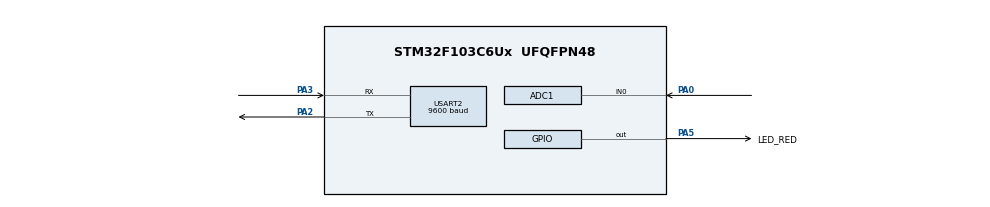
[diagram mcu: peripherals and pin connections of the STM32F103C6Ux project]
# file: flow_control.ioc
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ADC1.Channel-1\#ChannelRegularConversion=ADC_CHANNEL_0
ADC1.ContinuousConvMode=ENABLE
ADC1.NbrOfConversionFlag=1
ADC1.Rank-1\#ChannelRegularConversion=1
ADC1.SamplingTime-1\#ChannelRegularConversion=ADC_SAMPLETIME_1CYCLE_5
ADC1.master=1
Mcu.Family=STM32F1
Mcu.Name=STM32F103C6Ux
Mcu.Package=UFQFPN48
NVIC.PriorityGroup=NVIC_PRIORITYGROUP_4
NVIC.TIM2_IRQn=true\:0\:0\:false\:false\:true\:true\:true
NVIC.USART2_IRQn=true\:0\:0\:false\:false\:true\:true\:true
PA0-WKUP.Signal=ADCx_IN0
PA2.Mode=Asynchronous
PA2.Signal=USART2_TX
PA3.Mode=Asynchronous
PA3.Signal=USART2_RX
PA5.GPIO_Label=LED_RED
PA5.Signal=GPIO_Output
ProjectManager.HeapSize=0x200
ProjectManager.StackSize=0x400
ProjectManager.TargetToolchain=STM32CubeIDE
RCC.APB1Freq_Value=8000000
RCC.APB2Freq_Value=8000000
SH.ADCx_IN0.0=ADC1_IN0,IN0
TIM2.Period=9
TIM2.Prescaler=799
USART2.BaudRate=9600
USART2.VirtualMode=VM_ASYNC
VP_SYS_VS_ND.Mode=No_Debug
VP_TIM2_VS_ClockSourceINT.Mode=Internal
board=custom

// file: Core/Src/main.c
/* USER CODE BEGIN Header */
/**
  ******************************************************************************
  * @file           : main.c
  * @brief          : Main program body
  ******************************************************************************
  * @attention
  *
  * <h2><center>&copy; Copyright (c) 2025 STMicroelectronics.
  * All rights reserved.</center></h2>
  *
  * This software component is licensed by ST under BSD 3-Clause license,
  * the "License"; You may not use this file except in compliance with the
  * License. You may obtain a copy of the License at:
  *                        opensource.org/licenses/BSD-3-Clause
  *
  ******************************************************************************
  */
/* USER CODE END Header */
#include "main.h"

/* USER CODE BEGIN Includes */
#include "global.h"
#include "scheduler.h"
/* USER CODE END Includes */

ADC_HandleTypeDef hadc1;

TIM_HandleTypeDef htim2;

UART_HandleTypeDef huart2;

void SystemClock_Config(void);
static void MX_GPIO_Init(void);
static void MX_TIM2_Init(void);
static void MX_ADC1_Init(void);
static void MX_USART2_UART_Init(void);
/* USER CODE BEGIN PFP */
void blinkLED(){
	HAL_GPIO_TogglePin(LED_RED_GPIO_Port, LED_RED_Pin);

}
/* USER CODE END PFP */

/* USER CODE BEGIN 0 */
void HAL_UART_RxCpltCallback(UART_HandleTypeDef *huart) {
  if (huart->Instance == USART2) {
//      buffer[index_buffer] = temp;
//      index_buffer = (index_buffer + 1) % MAX_BUFFER_SIZE;
      buffer_flag = 1;
      HAL_UART_Receive_IT(&huart2, &temp, 1);
  }
}
/* USER CODE END 0 */

int main(void)
{

  /* MCU Configuration--------------------------------------------------------*/

  /* Reset of all peripherals, Initializes the Flash interface and the Systick. */
  HAL_Init();

  /* Configure the system clock */
  SystemClock_Config();

  /* Initialize all configured peripherals */
  MX_GPIO_Init();
  MX_TIM2_Init();
  MX_ADC1_Init();
  MX_USART2_UART_Init();
  /* USER CODE BEGIN 2 */
  HAL_TIM_Base_Start_IT(&htim2);
  SCH_Init();
  HAL_UART_Receive_IT(&huart2, &temp, 1); // Bắt đầu nghe UART
  HAL_ADC_Start(&hadc1);
//  HAL_UART_Transmit(&huart2, (uint8_t*)"HELLO\r\n", 7, 1000);
  /* USER CODE END 2 */

  /* Infinite loop */
  /* USER CODE BEGIN WHILE */
  SCH_Add_Task(timerRun, 0, 1);
  SCH_Add_Task(blinkLED, 0 , 50);
//  SCH_Add_Task(command_parser_fsm, 0 , 10);
//  SCH_Add_Task(uart_communication_fsm, 0 , 10);

  while (1)
  {
	  SCH_Dispatch_Tasks();
	  if (buffer_flag == 1){
		  command_parser_fsm();
		  buffer_flag = 0;
	  }
	  uart_communication_fsm();
//	  updateCounter();
//	  fsm_run();
//	  if (isExpired(4)){
//		  HAL_GPIO_TogglePin(BLINK_LED_GPIO_Port, BLINK_LED_Pin);
//		  setTimer(4, 50);
//	  }
    /* USER CODE END WHILE */

  }
}

void SystemClock_Config(void)
{
  RCC_OscInitTypeDef RCC_OscInitStruct = {0};
  RCC_ClkInitTypeDef RCC_ClkInitStruct = {0};
  RCC_PeriphCLKInitTypeDef PeriphClkInit = {0};

  /** Initializes the RCC Oscillators according to the specified parameters
  * in the RCC_OscInitTypeDef structure.
  */
  RCC_OscInitStruct.OscillatorType = RCC_OSCILLATORTYPE_HSI;
  RCC_OscInitStruct.HSIState = RCC_HSI_ON;
  RCC_OscInitStruct.HSICalibrationValue = RCC_HSICALIBRATION_DEFAULT;
  RCC_OscInitStruct.PLL.PLLState = RCC_PLL_NONE;
  if (HAL_RCC_OscConfig(&RCC_OscInitStruct) != HAL_OK)
  {
    Error_Handler();
  }
  /** Initializes the CPU, AHB and APB buses clocks
  */
  RCC_ClkInitStruct.ClockType = RCC_CLOCKTYPE_HCLK|RCC_CLOCKTYPE_SYSCLK
                              |RCC_CLOCKTYPE_PCLK1|RCC_CLOCKTYPE_PCLK2;
  RCC_ClkInitStruct.SYSCLKSource = RCC_SYSCLKSOURCE_HSI;
  RCC_ClkInitStruct.AHBCLKDivider = RCC_SYSCLK_DIV1;
  RCC_ClkInitStruct.APB1CLKDivider = RCC_HCLK_DIV1;
  RCC_ClkInitStruct.APB2CLKDivider = RCC_HCLK_DIV1;

  if (HAL_RCC_ClockConfig(&RCC_ClkInitStruct, FLASH_LATENCY_0) != HAL_OK)
  {
    Error_Handler();
  }
  PeriphClkInit.PeriphClockSelection = RCC_PERIPHCLK_ADC;
  PeriphClkInit.AdcClockSelection = RCC_ADCPCLK2_DIV2;
  if (HAL_RCCEx_PeriphCLKConfig(&PeriphClkInit) != HAL_OK)
  {
    Error_Handler();
  }
}

static void MX_ADC1_Init(void)
{

  ADC_ChannelConfTypeDef sConfig = {0};

  /** Common config
  */
  hadc1.Instance = ADC1;
  hadc1.Init.ScanConvMode = ADC_SCAN_DISABLE;
  hadc1.Init.ContinuousConvMode = ENABLE;
  hadc1.Init.DiscontinuousConvMode = DISABLE;
  hadc1.Init.ExternalTrigConv = ADC_SOFTWARE_START;
  hadc1.Init.DataAlign = ADC_DATAALIGN_RIGHT;
  hadc1.Init.NbrOfConversion = 1;
  if (HAL_ADC_Init(&hadc1) != HAL_OK)
  {
    Error_Handler();
  }
  /** Configure Regular Channel
  */
  sConfig.Channel = ADC_CHANNEL_0;
  sConfig.Rank = ADC_REGULAR_RANK_1;
  sConfig.SamplingTime = ADC_SAMPLETIME_1CYCLE_5;
  if (HAL_ADC_ConfigChannel(&hadc1, &sConfig) != HAL_OK)
  {
    Error_Handler();
  }

}

static void MX_TIM2_Init(void)
{

  TIM_ClockConfigTypeDef sClockSourceConfig = {0};
  TIM_MasterConfigTypeDef sMasterConfig = {0};

  htim2.Instance = TIM2;
  htim2.Init.Prescaler = 7999;
  htim2.Init.CounterMode = TIM_COUNTERMODE_UP;
  htim2.Init.Period = 9;
  htim2.Init.ClockDivision = TIM_CLOCKDIVISION_DIV1;
  htim2.Init.AutoReloadPreload = TIM_AUTORELOAD_PRELOAD_DISABLE;
  if (HAL_TIM_Base_Init(&htim2) != HAL_OK)
  {
    Error_Handler();
  }
  sClockSourceConfig.ClockSource = TIM_CLOCKSOURCE_INTERNAL;
  if (HAL_TIM_ConfigClockSource(&htim2, &sClockSourceConfig) != HAL_OK)
  {
    Error_Handler();
  }
  sMasterConfig.MasterOutputTrigger = TIM_TRGO_RESET;
  sMasterConfig.MasterSlaveMode = TIM_MASTERSLAVEMODE_DISABLE;
  if (HAL_TIMEx_MasterConfigSynchronization(&htim2, &sMasterConfig) != HAL_OK)
  {
    Error_Handler();
  }

}

static void MX_USART2_UART_Init(void)
{

  huart2.Instance = USART2;
  huart2.Init.BaudRate = 9600;
  huart2.Init.WordLength = UART_WORDLENGTH_8B;
  huart2.Init.StopBits = UART_STOPBITS_1;
  huart2.Init.Parity = UART_PARITY_NONE;
  huart2.Init.Mode = UART_MODE_TX_RX;
  huart2.Init.HwFlowCtl = UART_HWCONTROL_NONE;
  huart2.Init.OverSampling = UART_OVERSAMPLING_16;
  if (HAL_UART_Init(&huart2) != HAL_OK)
  {
    Error_Handler();
  }

}

static void MX_GPIO_Init(void)
{
  GPIO_InitTypeDef GPIO_InitStruct = {0};

  /* GPIO Ports Clock Enable */
  __HAL_RCC_GPIOA_CLK_ENABLE();

  /*Configure GPIO pin Output Level */
  HAL_GPIO_WritePin(LED_RED_GPIO_Port, LED_RED_Pin, GPIO_PIN_RESET);

  /*Configure GPIO pin : LED_RED_Pin */
  GPIO_InitStruct.Pin = LED_RED_Pin;
  GPIO_InitStruct.Mode = GPIO_MODE_OUTPUT_PP;
  GPIO_InitStruct.Pull = GPIO_NOPULL;
  GPIO_InitStruct.Speed = GPIO_SPEED_FREQ_LOW;
  HAL_GPIO_Init(LED_RED_GPIO_Port, &GPIO_InitStruct);

}

/* USER CODE BEGIN 4 */

void HAL_TIM_PeriodElapsedCallback(TIM_HandleTypeDef *htim){
//	timerRun();
//	getKeyInput();
	SCH_Update();
}
/* USER CODE END 4 */

void Error_Handler(void)
{
  __disable_irq();
  while (1)
  {
  }
}

/************************ (C) COPYRIGHT STMicroelectronics *****END OF FILE****/
